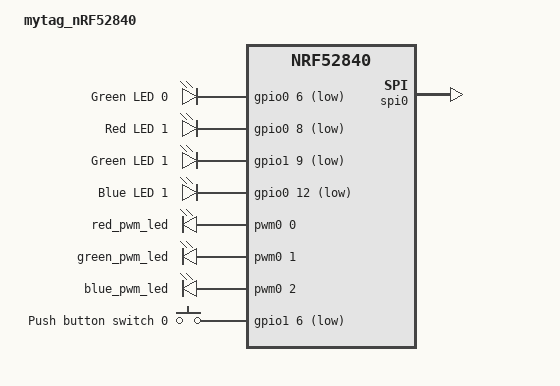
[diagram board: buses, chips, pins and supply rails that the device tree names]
// Copyright (c) 2023 Nordic Semiconductor ASA
// SPDX-License-Identifier: Apache-2.0

/dts-v1/;
#include <nordic/nrf52840_qiaa.dtsi>
#include "mytag_nRF52840-pinctrl.dtsi"
#include <zephyr/dt-bindings/input/input-event-codes.h>

/ {
	model = "mytag_nRF52840";
	compatible = "nordic,mytag_nRF52840";

	chosen {
		zephyr,sram = &sram0;
		zephyr,flash = &flash0;
		zephyr,code-partition = &slot0_partition;
	};

	leds {
		compatible = "gpio-leds";
		led0_green: led_0 {
			gpios = <&gpio0 6 GPIO_ACTIVE_LOW>;
			label = "Green LED 0";
		};
		led1_red: led_1 {
			gpios = <&gpio0 8 GPIO_ACTIVE_LOW>;
			label = "Red LED 1";
		};
		led1_green: led_2 {
			gpios = <&gpio1 9 GPIO_ACTIVE_LOW>;
			label = "Green LED 1";
		};
		led1_blue: led_3 {
			gpios = <&gpio0 12 GPIO_ACTIVE_LOW>;
			label = "Blue LED 1";
		};
	};

	pwmleds {
		compatible = "pwm-leds";
		red_pwm_led: pwm_led_0 {
			pwms = <&pwm0 0 PWM_MSEC(20) PWM_POLARITY_INVERTED>;
		};
		green_pwm_led: pwm_led_1 {
			pwms = <&pwm0 1 PWM_MSEC(20) PWM_POLARITY_INVERTED>;
		};
		blue_pwm_led: pwm_led_2 {
			pwms = <&pwm0 2 PWM_MSEC(20) PWM_POLARITY_INVERTED>;
		};
	};

	buttons {
		compatible = "gpio-keys";
		button0: button_0 {
			gpios = <&gpio1 6 (GPIO_PULL_UP | GPIO_ACTIVE_LOW)>;
			label = "Push button switch 0";
			zephyr,code = <INPUT_KEY_0>;
		};
	};

	aliases {
		sw0 = &button0;
		led0 = &led0_green;
		led1 = &led1_red;
		led2 = &led1_green;
		led3 = &led1_blue;
		led0-green = &led0_green;
		led1-red   = &led1_red;
		led1-green = &led1_green;
		led1-blue  = &led1_blue;
		pwm-led0 = &red_pwm_led;
		pwm-led1 = &green_pwm_led;
		pwm-led2 = &blue_pwm_led;
		red-pwm-led = &red_pwm_led;
		green-pwm-led = &green_pwm_led;
		blue-pwm-led = &blue_pwm_led;
		mcuboot-button0 = &button0;
		mcuboot-led0 = &led0_green;
		watchdog0 = &wdt0;
	};
};

&gpio0 {
	status = "okay";
};

&gpio1 {
	status = "okay";
};

&spi0 {
	status = "okay";
	compatible = "nordic,nrf-spi";
	cs-gpios = <&gpio0 20 GPIO_ACTIVE_LOW>;
	pinctrl-0 = <&spi0_default>;
	pinctrl-1 = <&spi0_sleep>;
	pinctrl-names = "default", "sleep";
};


&flash0 {
	partitions {
		compatible = "fixed-partitions";
		#address-cells = <1>;
		#size-cells = <1>;

		boot_partition: partition@0 {
			label = "mcuboot";
			reg = <0x00000000 0x0000C000>;
		};
		slot0_partition: partition@c000 {
			label = "image-0";
			reg = <0x0000C000 0x00076000>;
		};
		slot1_partition: partition@82000 {
			label = "image-1";
			reg = <0x00082000 0x00076000>;
		};
		storage_partition: partition@f8000 {
			label = "storage";
			reg = <0x000f8000 0x00008000>;
		};
	};
};

